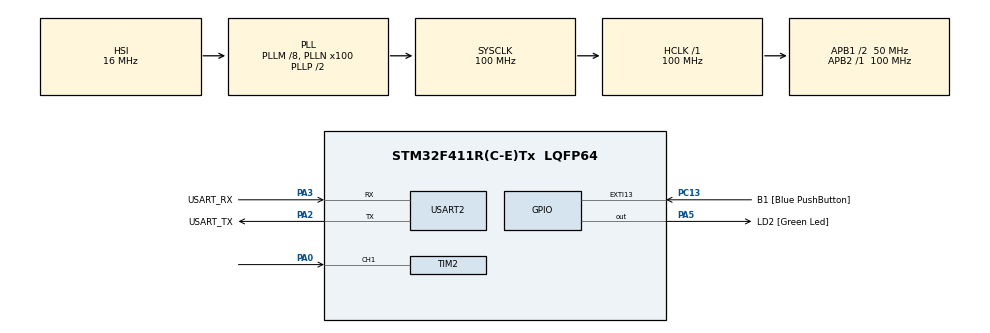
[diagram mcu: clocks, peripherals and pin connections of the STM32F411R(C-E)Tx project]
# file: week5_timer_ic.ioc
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Dma.Request0=TIM2_CH1
Dma.TIM2_CH1.0.Direction=DMA_PERIPH_TO_MEMORY
Dma.TIM2_CH1.0.FIFOMode=DMA_FIFOMODE_DISABLE
Dma.TIM2_CH1.0.Instance=DMA1_Stream5
Dma.TIM2_CH1.0.MemDataAlignment=DMA_MDATAALIGN_WORD
Dma.TIM2_CH1.0.MemInc=DMA_MINC_ENABLE
Dma.TIM2_CH1.0.Mode=DMA_CIRCULAR
Dma.TIM2_CH1.0.PeriphDataAlignment=DMA_PDATAALIGN_WORD
Dma.TIM2_CH1.0.PeriphInc=DMA_PINC_DISABLE
Dma.TIM2_CH1.0.Priority=DMA_PRIORITY_LOW
Mcu.Family=STM32F4
Mcu.Name=STM32F411R(C-E)Tx
Mcu.Package=LQFP64
NVIC.DMA1_Stream5_IRQn=true\:0\:0\:false\:false\:true\:false\:true
NVIC.PriorityGroup=NVIC_PRIORITYGROUP_0
NVIC.TIM5_IRQn=true\:0\:0\:false\:false\:true\:true\:true
PA0-WKUP.Signal=S_TIM2_CH1_ETR
PA13.GPIO_Label=TMS
PA13.Mode=Serial_Wire
PA13.Signal=SYS_JTMS-SWDIO
PA14.GPIO_Label=TCK
PA14.Mode=Serial_Wire
PA14.Signal=SYS_JTCK-SWCLK
PA2.GPIO_Label=USART_TX
PA2.Mode=Asynchronous
PA2.Signal=USART2_TX
PA3.GPIO_Label=USART_RX
PA3.Mode=Asynchronous
PA3.Signal=USART2_RX
PA5.GPIO_Label=LD2 [Green Led]
PA5.Signal=GPIO_Output
PB3.GPIO_Label=SWO
PB3.Signal=SYS_JTDO-SWO
PC13-ANTI_TAMP.GPIO_Label=B1 [Blue PushButton]
PC13-ANTI_TAMP.GPIO_ModeDefaultEXTI=GPIO_MODE_IT_FALLING
PC13-ANTI_TAMP.Signal=GPXTI13
PC14-OSC32_IN.Mode=LSE-External-Oscillator
PC14-OSC32_IN.Signal=RCC_OSC32_IN
PC15-OSC32_OUT.Mode=LSE-External-Oscillator
PC15-OSC32_OUT.Signal=RCC_OSC32_OUT
PH0\ -\ OSC_IN.Mode=HSE-External-Clock-Source
PH0\ -\ OSC_IN.Signal=RCC_OSC_IN
PH1\ -\ OSC_OUT.Mode=HSE-External-Clock-Source
PH1\ -\ OSC_OUT.Signal=RCC_OSC_OUT
ProjectManager.HeapSize=0x200
ProjectManager.StackSize=0x400
ProjectManager.TargetToolchain=STM32CubeIDE
RCC.48MHZClocksFreq_Value=50000000
RCC.AHBFreq_Value=100000000
RCC.APB1CLKDivider=RCC_HCLK_DIV2
RCC.APB1Freq_Value=50000000
RCC.APB1TimFreq_Value=100000000
RCC.APB2Freq_Value=100000000
RCC.APB2TimFreq_Value=100000000
RCC.CortexFreq_Value=100000000
RCC.FLatency-AdvancedSettings=FLASH_LATENCY_3
RCC.HCLKFreq_Value=100000000
RCC.HSE_VALUE=8000000
RCC.HSI_VALUE=16000000
RCC.PLLM=8
RCC.PLLN=100
RCC.RCC_RTC_Clock_Source=RCC_RTCCLKSOURCE_LSI
RCC.RCC_RTC_Clock_SourceVirtual=RCC_RTCCLKSOURCE_LSI
RCC.SYSCLKFreq_VALUE=100000000
RCC.SYSCLKSource=RCC_SYSCLKSOURCE_PLLCLK
RCC.VCOOutputFreq_Value=200000000
SH.S_TIM2_CH1_ETR.0=TIM2_CH1,Input_Capture1_from_TI1
TIM2.AutoReloadPreload=TIM_AUTORELOAD_PRELOAD_DISABLE
TIM2.Channel-Input_Capture1_from_TI1=TIM_CHANNEL_1
TIM2.Prescaler=99
TIM5.Prescaler=99
USART2.VirtualMode=VM_ASYNC
VP_TIM2_VS_ClockSourceINT.Mode=Internal
VP_TIM5_VS_ClockSourceINT.Mode=Internal
board=NUCLEO-F411RE

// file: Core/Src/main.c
/* USER CODE BEGIN Header */
/**
  ******************************************************************************
  * @file           : main.c
  * @brief          : Main program body
  ******************************************************************************
  * @attention
  *
  * <h2><center>&copy; Copyright (c) 2021 STMicroelectronics.
  * All rights reserved.</center></h2>
  *
  * This software component is licensed by ST under BSD 3-Clause license,
  * the "License"; You may not use this file except in compliance with the
  * License. You may obtain a copy of the License at:
  *                        opensource.org/licenses/BSD-3-Clause
  *
  ******************************************************************************
  */
/* USER CODE END Header */
#include "main.h"

/* USER CODE BEGIN PD */
#define capturenum 16

/* USER CODE END PD */

TIM_HandleTypeDef htim2;
TIM_HandleTypeDef htim5;
DMA_HandleTypeDef hdma_tim2_ch1;

UART_HandleTypeDef huart2;

/* USER CODE BEGIN PV */

uint64_t _micros = 0,timestamp = 0;
uint32_t capturedata[capturenum] = {0};

int32_t DiffTime[capturenum-1] = {0};

float MeanTime = 0;
double angular_speed = 0,lowest_rpm = 0;

/* USER CODE END PV */

void SystemClock_Config(void);
static void MX_GPIO_Init(void);
static void MX_DMA_Init(void);
static void MX_USART2_UART_Init(void);
static void MX_TIM2_Init(void);
static void MX_TIM5_Init(void);
/* USER CODE BEGIN PFP */

uint64_t micros();
void encorder_speed_reader_cycle();
double period_to_rpm();

/* USER CODE END PFP */

int main(void)
{

  /* MCU Configuration--------------------------------------------------------*/

  /* Reset of all peripherals, Initializes the Flash interface and the Systick. */
  HAL_Init();

  /* Configure the system clock */
  SystemClock_Config();

  /* Initialize all configured peripherals */
  MX_GPIO_Init();
  MX_DMA_Init();
  MX_USART2_UART_Init();
  MX_TIM2_Init();
  MX_TIM5_Init();
  /* USER CODE BEGIN 2 */

  HAL_TIM_Base_Start_IT(&htim5); 						// start timer

  	  	  	  	  	  	  	  	  	  	  	  	  	  	  //start input capture in DMA
  HAL_TIM_Base_Start(&htim5);
  HAL_TIM_IC_Start_DMA(&htim2, TIM_CHANNEL_1, capturedata ,capturenum);

  /* USER CODE END 2 */

  /* Infinite loop */
  /* USER CODE BEGIN WHILE */
  lowest_rpm = period_to_rpm((double)(1<<16)-1);

  while (1)
  {
	  if(micros() - timestamp > 100000){				// micro second
		  timestamp = micros();
		  HAL_GPIO_TogglePin(LD2_GPIO_Port, LD2_Pin);
	  }

	  encorder_speed_reader_cycle();
	  angular_speed = period_to_rpm(MeanTime);
    /* USER CODE END WHILE */

  }
}

void SystemClock_Config(void)
{
  RCC_OscInitTypeDef RCC_OscInitStruct = {0};
  RCC_ClkInitTypeDef RCC_ClkInitStruct = {0};

  /** Configure the main internal regulator output voltage
  */
  __HAL_RCC_PWR_CLK_ENABLE();
  __HAL_PWR_VOLTAGESCALING_CONFIG(PWR_REGULATOR_VOLTAGE_SCALE1);
  /** Initializes the RCC Oscillators according to the specified parameters
  * in the RCC_OscInitTypeDef structure.
  */
  RCC_OscInitStruct.OscillatorType = RCC_OSCILLATORTYPE_HSI;
  RCC_OscInitStruct.HSIState = RCC_HSI_ON;
  RCC_OscInitStruct.HSICalibrationValue = RCC_HSICALIBRATION_DEFAULT;
  RCC_OscInitStruct.PLL.PLLState = RCC_PLL_ON;
  RCC_OscInitStruct.PLL.PLLSource = RCC_PLLSOURCE_HSI;
  RCC_OscInitStruct.PLL.PLLM = 8;
  RCC_OscInitStruct.PLL.PLLN = 100;
  RCC_OscInitStruct.PLL.PLLP = RCC_PLLP_DIV2;
  RCC_OscInitStruct.PLL.PLLQ = 4;
  if (HAL_RCC_OscConfig(&RCC_OscInitStruct) != HAL_OK)
  {
    Error_Handler();
  }
  /** Initializes the CPU, AHB and APB buses clocks
  */
  RCC_ClkInitStruct.ClockType = RCC_CLOCKTYPE_HCLK|RCC_CLOCKTYPE_SYSCLK
                              |RCC_CLOCKTYPE_PCLK1|RCC_CLOCKTYPE_PCLK2;
  RCC_ClkInitStruct.SYSCLKSource = RCC_SYSCLKSOURCE_PLLCLK;
  RCC_ClkInitStruct.AHBCLKDivider = RCC_SYSCLK_DIV1;
  RCC_ClkInitStruct.APB1CLKDivider = RCC_HCLK_DIV2;
  RCC_ClkInitStruct.APB2CLKDivider = RCC_HCLK_DIV1;

  if (HAL_RCC_ClockConfig(&RCC_ClkInitStruct, FLASH_LATENCY_3) != HAL_OK)
  {
    Error_Handler();
  }
}

static void MX_TIM2_Init(void)
{

  TIM_ClockConfigTypeDef sClockSourceConfig = {0};
  TIM_MasterConfigTypeDef sMasterConfig = {0};
  TIM_IC_InitTypeDef sConfigIC = {0};

  htim2.Instance = TIM2;
  htim2.Init.Prescaler = 99;
  htim2.Init.CounterMode = TIM_COUNTERMODE_UP;
  htim2.Init.Period = 4294967295;
  htim2.Init.ClockDivision = TIM_CLOCKDIVISION_DIV1;
  htim2.Init.AutoReloadPreload = TIM_AUTORELOAD_PRELOAD_DISABLE;
  if (HAL_TIM_Base_Init(&htim2) != HAL_OK)
  {
    Error_Handler();
  }
  sClockSourceConfig.ClockSource = TIM_CLOCKSOURCE_INTERNAL;
  if (HAL_TIM_ConfigClockSource(&htim2, &sClockSourceConfig) != HAL_OK)
  {
    Error_Handler();
  }
  if (HAL_TIM_IC_Init(&htim2) != HAL_OK)
  {
    Error_Handler();
  }
  sMasterConfig.MasterOutputTrigger = TIM_TRGO_RESET;
  sMasterConfig.MasterSlaveMode = TIM_MASTERSLAVEMODE_DISABLE;
  if (HAL_TIMEx_MasterConfigSynchronization(&htim2, &sMasterConfig) != HAL_OK)
  {
    Error_Handler();
  }
  sConfigIC.ICPolarity = TIM_INPUTCHANNELPOLARITY_RISING;
  sConfigIC.ICSelection = TIM_ICSELECTION_DIRECTTI;
  sConfigIC.ICPrescaler = TIM_ICPSC_DIV1;
  sConfigIC.ICFilter = 0;
  if (HAL_TIM_IC_ConfigChannel(&htim2, &sConfigIC, TIM_CHANNEL_1) != HAL_OK)
  {
    Error_Handler();
  }

}

static void MX_TIM5_Init(void)
{

  TIM_ClockConfigTypeDef sClockSourceConfig = {0};
  TIM_MasterConfigTypeDef sMasterConfig = {0};

  htim5.Instance = TIM5;
  htim5.Init.Prescaler = 99;
  htim5.Init.CounterMode = TIM_COUNTERMODE_UP;
  htim5.Init.Period = 4294967295;
  htim5.Init.ClockDivision = TIM_CLOCKDIVISION_DIV1;
  htim5.Init.AutoReloadPreload = TIM_AUTORELOAD_PRELOAD_DISABLE;
  if (HAL_TIM_Base_Init(&htim5) != HAL_OK)
  {
    Error_Handler();
  }
  sClockSourceConfig.ClockSource = TIM_CLOCKSOURCE_INTERNAL;
  if (HAL_TIM_ConfigClockSource(&htim5, &sClockSourceConfig) != HAL_OK)
  {
    Error_Handler();
  }
  sMasterConfig.MasterOutputTrigger = TIM_TRGO_RESET;
  sMasterConfig.MasterSlaveMode = TIM_MASTERSLAVEMODE_DISABLE;
  if (HAL_TIMEx_MasterConfigSynchronization(&htim5, &sMasterConfig) != HAL_OK)
  {
    Error_Handler();
  }

}

static void MX_USART2_UART_Init(void)
{

  huart2.Instance = USART2;
  huart2.Init.BaudRate = 115200;
  huart2.Init.WordLength = UART_WORDLENGTH_8B;
  huart2.Init.StopBits = UART_STOPBITS_1;
  huart2.Init.Parity = UART_PARITY_NONE;
  huart2.Init.Mode = UART_MODE_TX_RX;
  huart2.Init.HwFlowCtl = UART_HWCONTROL_NONE;
  huart2.Init.OverSampling = UART_OVERSAMPLING_16;
  if (HAL_UART_Init(&huart2) != HAL_OK)
  {
    Error_Handler();
  }

}

static void MX_DMA_Init(void)
{

  /* DMA controller clock enable */
  __HAL_RCC_DMA1_CLK_ENABLE();

  /* DMA interrupt init */
  /* DMA1_Stream5_IRQn interrupt configuration */
  HAL_NVIC_SetPriority(DMA1_Stream5_IRQn, 0, 0);
  HAL_NVIC_EnableIRQ(DMA1_Stream5_IRQn);

}

static void MX_GPIO_Init(void)
{
  GPIO_InitTypeDef GPIO_InitStruct = {0};

  /* GPIO Ports Clock Enable */
  __HAL_RCC_GPIOC_CLK_ENABLE();
  __HAL_RCC_GPIOH_CLK_ENABLE();
  __HAL_RCC_GPIOA_CLK_ENABLE();
  __HAL_RCC_GPIOB_CLK_ENABLE();

  /*Configure GPIO pin Output Level */
  HAL_GPIO_WritePin(LD2_GPIO_Port, LD2_Pin, GPIO_PIN_RESET);

  /*Configure GPIO pin : B1_Pin */
  GPIO_InitStruct.Pin = B1_Pin;
  GPIO_InitStruct.Mode = GPIO_MODE_IT_FALLING;
  GPIO_InitStruct.Pull = GPIO_NOPULL;
  HAL_GPIO_Init(B1_GPIO_Port, &GPIO_InitStruct);

  /*Configure GPIO pin : LD2_Pin */
  GPIO_InitStruct.Pin = LD2_Pin;
  GPIO_InitStruct.Mode = GPIO_MODE_OUTPUT_PP;
  GPIO_InitStruct.Pull = GPIO_NOPULL;
  GPIO_InitStruct.Speed = GPIO_SPEED_FREQ_LOW;
  HAL_GPIO_Init(LD2_GPIO_Port, &GPIO_InitStruct);

}

/* USER CODE BEGIN 4 */

uint64_t micros(){
	return _micros + htim5.Instance->CNT; 										// counter of Timer11
}

void HAL_TIM_PeriodElapsedCallback(TIM_HandleTypeDef *htim){

	if(htim == &htim5){
		_micros += ((uint64_t)1<<32)-1;
	}

}

void encorder_speed_reader_cycle(){
	uint32_t CapPos = capturenum - __HAL_DMA_GET_COUNTER(htim2.hdma[TIM_DMA_ID_CC1]);
	uint32_t sum = 0;
	for(register int i = 0; i < capturenum-1 ; i++){
		DiffTime[i] = capturedata[(i+1+CapPos)%capturenum]-capturedata[(i+CapPos)%capturenum];
		if(DiffTime[i] < 0){
			DiffTime[i] += ((uint64_t)1<<32)-1;
		}
		sum += DiffTime[i];
	}
	MeanTime = sum/(float)(capturenum-1);

}

double period_to_rpm(double input_time){
	double ratio = (double)1/64;
	return ((double)1/12)*((double)1/input_time)*(1e6*60)*ratio;

}

/* USER CODE END 4 */

void Error_Handler(void)
{
  __disable_irq();
  while (1)
  {
  }
}

/************************ (C) COPYRIGHT STMicroelectronics *****END OF FILE****/
